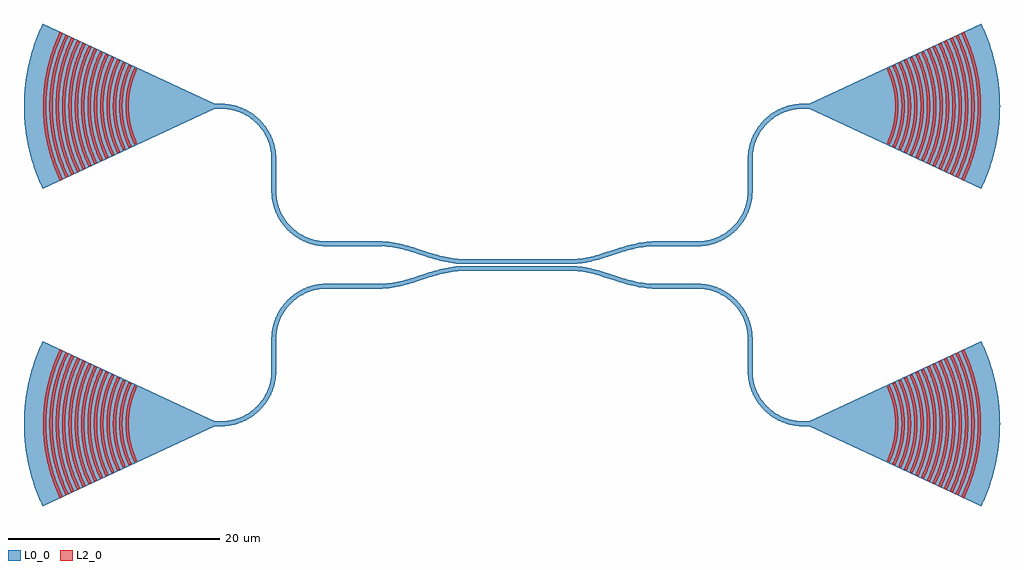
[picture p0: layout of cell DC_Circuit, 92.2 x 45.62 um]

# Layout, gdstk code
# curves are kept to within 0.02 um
from math import pi, radians
import gdstk
lib = gdstk.Library(unit=1e-6, precision=1e-09)
def R(c, l, rs):  # rectangles x0, y0, x1, y1
    for r in rs: c.add(gdstk.rectangle(r[:2], r[2:], *l))
def P(c, l, *ps):  # polygons
    for p in ps: c.add(gdstk.Polygon(p, *l))
L0_0 = (0, 0)
L2_0 = (2, 0)

c_dc = lib.new_cell('DC')
P(c_dc, L0_0, [(0.129,-2.224),(0.9,-2.175),(1.924,-2.003),(2.939,-1.736),(4.942,-1.095),(5.928,-0.819),(6.906,-0.628),(7.818,-0.552),(18.486,-0.566),(19.216,-0.646),(20.195,-0.849),(23.441,-1.845),(24.716,-2.123),(25.357,-2.199),(26,-2.225),(26,-1.775),(25.15,-1.727),(24.174,-1.563),(23.189,-1.305),(20.432,-0.446),(19.413,-0.222),(18.643,-0.126),(18,-0.1),(7.871,-0.101),(6.972,-0.166),(5.949,-0.351),(4.935,-0.627),(2.687,-1.341),(1.704,-1.59),(0.729,-1.74),(0,-1.775),(0,-2.225)],
  [(0.243,1.771),(0.972,1.713),(1.949,1.536),(2.935,1.268),(5.441,0.48),(6.46,0.245),(7.229,0.137),(8,0.1),(18.129,0.101),(19.156,0.183),(20.178,0.381),(21.192,0.665),(23.189,1.305),(24.174,1.563),(25.15,1.727),(26,1.775),(26,2.225),(25.229,2.188),(24.204,2.03),(23.187,1.773),(20.195,0.849),(19.216,0.646),(18.243,0.554),(8,0.55),(7.393,0.574),(6.663,0.666),(5.682,0.881),(2.686,1.81),(1.413,2.103),(0.643,2.199),(0,2.225),(0,1.775)])

c_gc = lib.new_cell('GC')
R(c_gc, L0_0, [(-0.6,-0.225,0,0.225)])
P(c_gc, L0_0, [(-16.817,-7.81),(-17.144,-7.093),(-17.53,-6.115),(-17.857,-5.117),(-18.127,-4.102),(-18.336,-3.072),(-18.47,-2.162),(-18.557,-1.247),(-18.6,-0.065),(-18.573,0.985),(-18.485,2.032),(-18.336,3.072),(-18.127,4.102),(-17.857,5.117),(-17.53,6.115),(-17.144,7.093),(-16.817,7.81),(-0.6,0.225),(-0.6,-0.225)],
  [(-0.131,-0.024),(-0.131,-0.024),(-0.128,-0.024),(-0.128,-0.024)])
P(c_gc, L2_0, [(-15.196,-7.029),(-15.552,-6.235),(-15.865,-5.424),(-16.134,-4.597),(-16.387,-3.635),(-16.58,-2.66),(-16.7,-1.798),(-16.766,-1.055),(-16.8,-0.062),(-16.78,0.808),(-16.7,1.798),(-16.58,2.66),(-16.387,3.635),(-16.134,4.597),(-15.865,5.424),(-15.552,6.235),(-15.196,7.029),(-14.926,6.899),(-15.325,5.999),(-15.628,5.194),(-15.887,4.372),(-16.102,3.538),(-16.291,2.572),(-16.407,1.719),(-16.477,0.861),(-16.5,0),(-16.477,-0.861),(-16.407,-1.719),(-16.291,-2.572),(-16.102,-3.538),(-15.887,-4.372),(-15.628,-5.194),(-15.325,-5.999),(-14.926,-6.899)],
  [(-14.655,-6.769),(-15.007,-5.984),(-15.355,-5.065),(-15.611,-4.245),(-15.823,-3.412),(-15.967,-2.689),(-16.105,-1.716),(-16.177,-0.859),(-16.2,0),(-16.177,0.859),(-16.105,1.716),(-15.967,2.689),(-15.823,3.412),(-15.611,4.245),(-15.355,5.065),(-15.007,5.984),(-14.655,6.769),(-14.385,6.638),(-14.686,5.974),(-15.037,5.068),(-15.262,4.374),(-15.482,3.553),(-15.656,2.72),(-15.799,1.759),(-15.873,0.911),(-15.9,0.061),(-15.88,-0.79),(-15.799,-1.759),(-15.698,-2.48),(-15.536,-3.316),(-15.296,-4.258),(-15.037,-5.068),(-14.686,-5.974),(-14.385,-6.638)],
  [(-14.114,-6.508),(-14.412,-5.851),(-14.758,-4.954),(-15.014,-4.153),(-15.224,-3.338),(-15.388,-2.513),(-15.506,-1.679),(-15.577,-0.841),(-15.6,0),(-15.577,0.841),(-15.506,1.679),(-15.388,2.513),(-15.224,3.338),(-15.014,4.153),(-14.758,4.954),(-14.504,5.629),(-14.114,6.508),(-13.844,6.378),(-14.184,5.618),(-14.48,4.841),(-14.732,4.048),(-14.938,3.242),(-15.079,2.543),(-15.199,1.72),(-15.273,0.891),(-15.3,0.059),(-15.286,-0.653),(-15.225,-1.483),(-15.118,-2.308),(-14.938,-3.242),(-14.732,-4.048),(-14.48,-4.841),(-14.184,-5.618),(-13.844,-6.378)],
  [(-13.574,-6.248),(-14.162,-4.839),(-14.417,-4.057),(-14.626,-3.262),(-14.789,-2.456),(-14.906,-1.642),(-14.977,-0.822),(-15,0),(-14.977,0.822),(-14.906,1.642),(-14.789,2.456),(-14.626,3.262),(-14.417,4.057),(-14.162,4.839),(-13.574,6.248),(-13.304,6.118),(-13.591,5.483),(-13.885,4.726),(-14.314,3.279),(-14.48,2.483),(-14.6,1.679),(-14.673,0.87),(-14.7,0.058),(-14.686,-0.638),(-14.626,-1.449),(-14.519,-2.254),(-14.366,-3.053),(-14.167,-3.841),(-13.885,-4.726),(-13.591,-5.483),(-13.304,-6.118)],
  [(-13.033,-5.987),(-13.36,-5.255),(-13.645,-4.504),(-14.054,-3.071),(-14.21,-2.284),(-14.32,-1.488),(-14.377,-0.802),(-14.4,0),(-14.377,0.802),(-14.32,1.488),(-14.21,2.284),(-14.054,3.071),(-13.645,4.504),(-13.36,5.255),(-13.033,5.987),(-12.763,5.857),(-13.045,5.232),(-13.333,4.486),(-13.576,3.724),(-13.774,2.948),(-13.907,2.275),(-14.018,1.483),(-14.083,0.686),(-14.1,0),(-14.083,-0.686),(-14.018,-1.483),(-13.907,-2.275),(-13.774,-2.948),(-13.576,-3.724),(-13.333,-4.486),(-13.045,-5.232),(-12.763,-5.857)],
  [(-12.493,-5.727),(-12.771,-5.11),(-13.055,-4.373),(-13.463,-2.965),(-13.617,-2.19),(-13.725,-1.408),(-13.8,-0.056),(-13.786,0.62),(-13.725,1.408),(-13.617,2.19),(-13.463,2.965),(-13.055,4.373),(-12.771,5.11),(-12.493,5.727),(-12.223,5.597),(-12.497,4.988),(-12.776,4.261),(-13.177,2.87),(-13.327,2.106),(-13.419,1.444),(-13.477,0.779),(-13.5,0),(-13.477,-0.779),(-13.419,-1.444),(-13.327,-2.106),(-13.177,-2.87),(-12.776,-4.261),(-12.497,-4.988),(-12.223,-5.597)],
  [(-11.952,-5.467),(-12.461,-4.252),(-12.866,-2.884),(-13.019,-2.131),(-13.126,-1.37),(-13.2,-0.055),(-13.186,0.604),(-13.126,1.37),(-13.019,2.131),(-12.866,2.884),(-12.461,4.252),(-11.952,5.467),(-11.682,5.337),(-12.183,4.139),(-12.58,2.79),(-12.82,1.404),(-12.877,0.757),(-12.9,0),(-12.877,-0.757),(-12.82,-1.404),(-12.58,-2.79),(-12.183,-4.139),(-11.682,-5.337)],
  [(-11.411,-5.207),(-11.635,-4.717),(-11.944,-3.913),(-12.139,-3.296),(-12.323,-2.565),(-12.461,-1.824),(-12.542,-1.183),(-12.6,0),(-12.542,1.183),(-12.461,1.824),(-12.323,2.565),(-12.139,3.296),(-11.944,3.913),(-11.635,4.717),(-11.411,5.207),(-11.141,5.077),(-11.402,4.496),(-11.665,3.802),(-12.013,2.578),(-12.225,1.323),(-12.3,0.053),(-12.286,-0.583),(-12.225,-1.323),(-12.013,-2.578),(-11.665,-3.802),(-11.402,-4.496),(-11.141,-5.077)],
  [(-10.871,-4.946),(-11.167,-4.278),(-11.386,-3.691),(-11.726,-2.486),(-11.931,-1.25),(-12,0),(-11.931,1.25),(-11.726,2.486),(-11.386,3.691),(-11.167,4.278),(-10.871,4.946),(-10.601,4.816),(-11.073,3.678),(-11.416,2.495),(-11.626,1.281),(-11.7,0.052),(-11.686,-0.565),(-11.626,-1.281),(-11.416,-2.495),(-11.073,-3.678),(-10.601,-4.816)],
  [(-10.33,-4.686),(-10.764,-3.651),(-11.112,-2.478),(-11.325,-1.273),(-11.4,-0.051),(-11.386,0.561),(-11.325,1.273),(-11.135,2.378),(-10.798,3.555),(-10.33,4.686),(-10.06,4.556),(-10.486,3.539),(-10.848,2.288),(-11.031,1.201),(-11.1,0),(-11.031,-1.201),(-10.848,-2.288),(-10.486,-3.539),(-10.06,-4.556)],
  [(-9.79,-4.426),(-10.24,-3.334),(-10.539,-2.294),(-10.726,-1.228),(-10.8,-0.049),(-10.748,1.032),(-10.561,2.198),(-10.24,3.334),(-9.79,4.426),(-9.52,4.295),(-9.932,3.304),(-10.257,2.179),(-10.436,1.121),(-10.5,0.049),(-10.447,-1.024),(-10.257,-2.179),(-9.932,-3.304),(-9.52,-4.295)],
  [(-9.25,-4.165),(-9.685,-3.103),(-9.949,-2.183),(-10.132,-1.146),(-10.2,0),(-10.132,1.146),(-9.949,2.183),(-9.685,3.103),(-9.25,4.165),(-8.979,4.035),(-9.409,2.982),(-9.688,1.977),(-9.842,1.041),(-9.9,0),(-9.842,-1.041),(-9.688,-1.977),(-9.409,-2.982),(-8.979,-4.035)],
  [(-8.709,-3.905),(-9.099,-2.962),(-9.359,-2.071),(-9.537,-1.066),(-9.6,-0.046),(-9.537,1.066),(-9.359,2.071),(-9.099,2.962),(-8.709,3.905),(-8.438,3.775),(-8.823,2.841),(-9.077,1.958),(-9.247,0.962),(-9.3,0.046),(-9.247,-0.962),(-9.077,-1.958),(-8.823,-2.841),(-8.438,-3.775)],
  [(-8.168,-3.644),(-8.483,-2.901),(-8.769,-1.957),(-8.942,-0.985),(-9,0),(-8.942,0.985),(-8.769,1.957),(-8.483,2.901),(-8.168,3.644),(-7.898,3.514),(-8.238,2.696),(-8.507,1.759),(-8.661,0.797),(-8.7,0),(-8.661,-0.797),(-8.507,-1.759),(-8.238,-2.696),(-7.898,-3.514)])

dc_circuit_route0 = lib.new_cell('DC_Circuit_route0')
P(dc_circuit_route0, L0_0, [(0,1.775),(0,2.225),(-5.087,2.226),(-5.953,2.321),(-6.542,2.481),(-7.183,2.753),(-7.707,3.066),(-8.186,3.444),(-8.67,3.946),(-9.076,4.513),(-9.395,5.132),(-9.62,5.792),(-9.724,6.305),(-9.772,6.826),(-9.776,10.091),(-9.814,10.637),(-9.889,11.086),(-10.031,11.615),(-10.19,12.042),(-10.475,12.612),(-10.827,13.144),(-11.305,13.695),(-11.856,14.173),(-12.387,14.525),(-12.958,14.81),(-13.648,15.047),(-14.363,15.186),(-15,15.225),(-15,14.775),(-14.305,14.724),(-13.624,14.573),(-12.973,14.324),(-12.293,13.934),(-11.879,13.614),(-11.444,13.186),(-11.066,12.707),(-10.794,12.261),(-10.605,11.868),(-10.427,11.376),(-10.254,10.522),(-10.225,10),(-10.222,6.818),(-10.174,6.273),(-10.07,5.736),(-9.81,4.958),(-9.479,4.309),(-9.003,3.641),(-8.496,3.117),(-7.922,2.668),(-7.29,2.304),(-6.528,2.003),(-5.817,1.839),(-5.091,1.776)])

dc_circuit_route1 = lib.new_cell('DC_Circuit_route1')
P(dc_circuit_route1, L0_0, [(0,-2.225),(0,-1.775),(-5.455,-1.795),(-6.264,-1.93),(-7.042,-2.19),(-7.691,-2.521),(-8.359,-2.997),(-8.883,-3.504),(-9.382,-4.154),(-9.81,-4.958),(-10.047,-5.648),(-10.161,-6.183),(-10.222,-6.818),(-10.225,-10),(-10.254,-10.522),(-10.427,-11.376),(-10.605,-11.868),(-10.794,-12.261),(-11.066,-12.707),(-11.444,-13.186),(-11.879,-13.614),(-12.293,-13.934),(-12.973,-14.324),(-13.624,-14.573),(-14.305,-14.724),(-15,-14.775),(-15,-15.225),(-14.363,-15.186),(-13.648,-15.047),(-12.958,-14.81),(-12.387,-14.525),(-11.856,-14.173),(-11.305,-13.695),(-10.827,-13.144),(-10.475,-12.612),(-10.19,-12.042),(-10.031,-11.615),(-9.889,-11.086),(-9.814,-10.637),(-9.776,-10.091),(-9.772,-6.826),(-9.724,-6.305),(-9.62,-5.792),(-9.395,-5.132),(-9.03,-4.438),(-8.614,-3.879),(-8.121,-3.386),(-7.562,-2.97),(-7.027,-2.676),(-6.376,-2.427),(-5.695,-2.276),(-5,-2.225)])

dc_circuit_route2 = lib.new_cell('DC_Circuit_route2')
P(dc_circuit_route2, L0_0, [(26,2.225),(26,1.775),(30,1.775),(30.637,1.814),(31.528,2.003),(32.29,2.304),(32.997,2.72),(33.63,3.241),(34.117,3.783),(34.525,4.388),(34.845,5.043),(35.07,5.736),(35.174,6.273),(35.222,6.818),(35.225,10),(35.254,10.522),(35.427,11.376),(35.605,11.868),(35.794,12.261),(36.066,12.707),(36.444,13.186),(36.879,13.614),(37.293,13.934),(37.973,14.324),(38.624,14.573),(39.305,14.724),(40,14.775),(40,15.225),(39.363,15.186),(38.648,15.047),(37.958,14.81),(37.387,14.525),(36.856,14.173),(36.305,13.695),(35.827,13.144),(35.475,12.612),(35.19,12.042),(35.031,11.615),(34.889,11.086),(34.814,10.637),(34.776,10.091),(34.772,6.826),(34.736,6.391),(34.641,5.877),(34.428,5.213),(34.121,4.587),(33.725,4.013),(33.251,3.503),(32.707,3.066),(32.183,2.753),(31.542,2.481),(30.867,2.304),(30.087,2.226)])

dc_circuit_route3 = lib.new_cell('DC_Circuit_route3')
P(dc_circuit_route3, L0_0, [(26,-1.775),(26,-2.225),(30.174,-2.228),(30.609,-2.264),(31.123,-2.359),(31.706,-2.54),(32.261,-2.794),(32.849,-3.168),(33.314,-3.562),(33.725,-4.013),(34.121,-4.587),(34.428,-5.213),(34.641,-5.877),(34.736,-6.391),(34.772,-6.826),(34.776,-10.091),(34.814,-10.637),(34.889,-11.086),(35.031,-11.615),(35.19,-12.042),(35.475,-12.612),(35.827,-13.144),(36.305,-13.695),(36.856,-14.173),(37.387,-14.525),(37.958,-14.81),(38.648,-15.047),(39.363,-15.186),(40,-15.225),(40,-14.775),(39.305,-14.724),(38.624,-14.573),(37.973,-14.324),(37.293,-13.934),(36.879,-13.614),(36.444,-13.186),(36.066,-12.707),(35.794,-12.261),(35.605,-11.868),(35.427,-11.376),(35.254,-10.522),(35.225,-10),(35.222,-6.818),(35.174,-6.273),(35.07,-5.736),(34.845,-5.043),(34.525,-4.388),(34.117,-3.783),(33.63,-3.241),(32.997,-2.72),(32.372,-2.344),(31.701,-2.06),(30.997,-1.871),(30.091,-1.776)])

dc_circuit = lib.new_cell('DC_Circuit')
dc_circuit.add(gdstk.Reference(c_dc, (0,0)))
dc_circuit.add(gdstk.Reference(c_gc, (-15,15)))
dc_circuit.add(gdstk.Reference(c_gc, (-15,-15)))
dc_circuit.add(gdstk.Reference(c_gc, (40,15), rotation=pi))
dc_circuit.add(gdstk.Reference(c_gc, (40,-15), rotation=pi))
dc_circuit.add(gdstk.Reference(dc_circuit_route0, (0,0)))
dc_circuit.add(gdstk.Reference(dc_circuit_route1, (0,0)))
dc_circuit.add(gdstk.Reference(dc_circuit_route2, (0,0)))
dc_circuit.add(gdstk.Reference(dc_circuit_route3, (0,0)))

lib.write_gds('DC_Circuit.gds')
